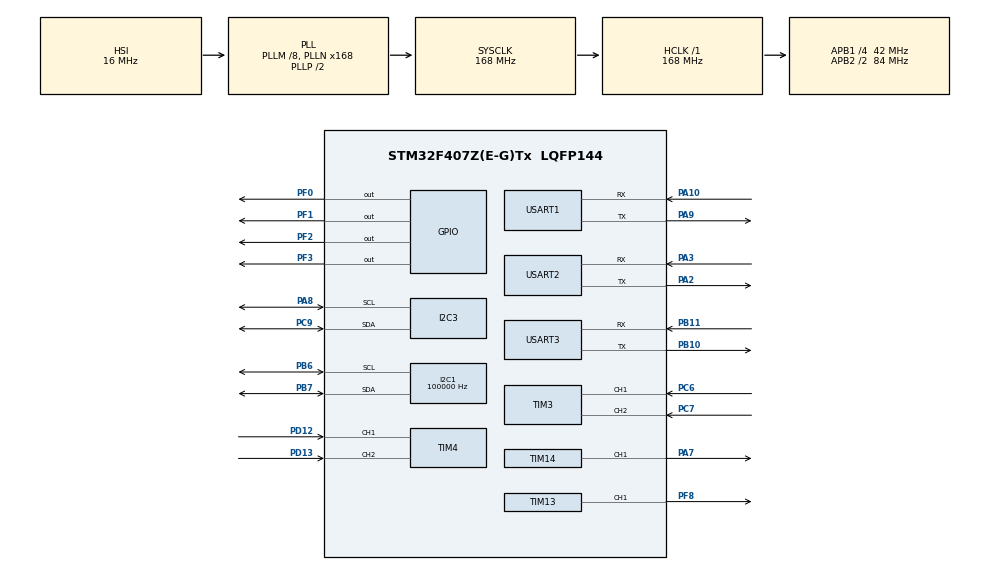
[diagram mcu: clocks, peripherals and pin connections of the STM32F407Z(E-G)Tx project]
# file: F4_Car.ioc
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FREERTOS.Tasks01=defaultTask,0,128,StartDefaultTask,Default,NULL,Dynamic,NULL,NULL;myTask02,-3,256,StartTask02,Default,NULL,Dynamic,NULL,NULL;myTask03,-3,256,StartTask03,Default,NULL,Dynamic,NULL,NULL
I2C1.ClockSpeed=100000
Mcu.Family=STM32F4
Mcu.Name=STM32F407Z(E-G)Tx
Mcu.Package=LQFP144
NVIC.PriorityGroup=NVIC_PRIORITYGROUP_4
NVIC.TIM6_DAC_IRQn=true\:5\:0\:true\:false\:true\:true\:true\:true\:true
NVIC.TIM7_IRQn=true\:7\:0\:true\:false\:true\:true\:true\:true\:true
NVIC.USART2_IRQn=true\:6\:0\:true\:false\:true\:true\:true\:true\:true
NVIC.USART3_IRQn=true\:6\:0\:true\:false\:true\:true\:true\:true\:true
PA10.Mode=Asynchronous
PA10.Signal=USART1_RX
PA2.Mode=Asynchronous
PA2.Signal=USART2_TX
PA3.Mode=Asynchronous
PA3.Signal=USART2_RX
PA7.Signal=S_TIM14_CH1
PA8.Mode=I2C
PA8.Signal=I2C3_SCL
PA9.Mode=Asynchronous
PA9.Signal=USART1_TX
PB10.Mode=Asynchronous
PB10.Signal=USART3_TX
PB11.Mode=Asynchronous
PB11.Signal=USART3_RX
PB6.Mode=I2C
PB6.Signal=I2C1_SCL
PB7.Mode=I2C
PB7.Signal=I2C1_SDA
PC6.Signal=S_TIM3_CH1
PC7.Signal=S_TIM3_CH2
PC9.Mode=I2C
PC9.Signal=I2C3_SDA
PD12.Signal=S_TIM4_CH1
PD13.Signal=S_TIM4_CH2
PF0.GPIO_PuPd=GPIO_PULLDOWN
PF0.GPIO_Speed=GPIO_SPEED_FREQ_MEDIUM
PF0.Signal=GPIO_Output
PF1.GPIO_PuPd=GPIO_PULLDOWN
PF1.GPIO_Speed=GPIO_SPEED_FREQ_MEDIUM
PF1.Signal=GPIO_Output
PF2.GPIO_PuPd=GPIO_PULLDOWN
PF2.GPIO_Speed=GPIO_SPEED_FREQ_MEDIUM
PF2.Signal=GPIO_Output
PF3.GPIO_PuPd=GPIO_PULLDOWN
PF3.GPIO_Speed=GPIO_SPEED_FREQ_MEDIUM
PF3.Signal=GPIO_Output
PF8.Signal=S_TIM13_CH1
PH0-OSC_IN.Mode=HSE-External-Oscillator
PH0-OSC_IN.Signal=RCC_OSC_IN
PH1-OSC_OUT.Mode=HSE-External-Oscillator
PH1-OSC_OUT.Signal=RCC_OSC_OUT
ProjectManager.HeapSize=0x200
ProjectManager.StackSize=0x400
ProjectManager.TargetToolchain=MDK-ARM V5.32
RCC.48MHZClocksFreq_Value=84000000
RCC.AHBFreq_Value=168000000
RCC.APB1CLKDivider=RCC_HCLK_DIV4
RCC.APB1Freq_Value=42000000
RCC.APB1TimFreq_Value=84000000
RCC.APB2CLKDivider=RCC_HCLK_DIV2
RCC.APB2Freq_Value=84000000
RCC.APB2TimFreq_Value=168000000
RCC.CortexFreq_Value=168000000
RCC.HCLKFreq_Value=168000000
RCC.HSE_VALUE=25000000
RCC.HSI_VALUE=16000000
RCC.LSE_VALUE=32768
RCC.PLLM=8
RCC.PLLN=168
RCC.SYSCLKFreq_VALUE=168000000
RCC.SYSCLKSource=RCC_SYSCLKSOURCE_PLLCLK
RCC.VCOOutputFreq_Value=336000000
SH.S_TIM13_CH1.0=TIM13_CH1,PWM Generation1 CH1
SH.S_TIM14_CH1.0=TIM14_CH1,PWM Generation1 CH1
SH.S_TIM3_CH1.0=TIM3_CH1,Encoder_Interface
SH.S_TIM3_CH2.0=TIM3_CH2,Encoder_Interface
SH.S_TIM4_CH1.0=TIM4_CH1,Encoder_Interface
SH.S_TIM4_CH2.0=TIM4_CH2,Encoder_Interface
TIM13.Channel=TIM_CHANNEL_1
TIM13.Period=2000-1
TIM13.Prescaler=4-1
TIM14.Channel=TIM_CHANNEL_1
TIM14.Period=2000-1
TIM14.Prescaler=4-1
TIM3.ClockDivision=TIM_CLOCKDIVISION_DIV4
TIM3.EncoderMode=TIM_ENCODERMODE_TI12
TIM3.IC1Filter=0
TIM3.IC2Filter=0
TIM4.EncoderMode=TIM_ENCODERMODE_TI12
TIM4.IC1Filter=0
TIM4.IC2Filter=0
TIM6.AutoReloadPreload=TIM_AUTORELOAD_PRELOAD_DISABLE
TIM6.Period=10000-1
TIM6.Prescaler=8400-1
TIM7.Period=200-1
TIM7.Prescaler=8400-1
USART1.VirtualMode=VM_ASYNC
USART2.VirtualMode=VM_ASYNC
USART3.VirtualMode=VM_ASYNC
VP_FREERTOS_VS_CMSIS_V1.Mode=CMSIS_V1
VP_TIM13_VS_ClockSourceINT.Mode=Enable_Timer
VP_TIM14_VS_ClockSourceINT.Mode=Enable_Timer
VP_TIM6_VS_ClockSourceINT.Mode=Enable_Timer
VP_TIM7_VS_ClockSourceINT.Mode=Enable_Timer
board=custom

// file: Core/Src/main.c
/* USER CODE BEGIN Header */
/**
  ******************************************************************************
  * @file           : main.c
  * @brief          : Main program body
  ******************************************************************************
  * @attention
  *
  * Copyright (c) 2022 STMicroelectronics.
  * All rights reserved.
  *
  * This software is licensed under terms that can be found in the LICENSE file
  * in the root directory of this software component.
  * If no LICENSE file comes with this software, it is provided AS-IS.
  *
  ******************************************************************************
  */
/* USER CODE END Header */
#include "main.h"
#include "cmsis_os.h"
#include "i2c.h"
#include "tim.h"
#include "usart.h"
#include "gpio.h"

/* USER CODE BEGIN Includes */
#include "mpu6050.h"
#include "inv_mpu.h"
#include "pid.h"
#include "control.h"
#include "encoder.h"
/* USER CODE END Includes */

/* USER CODE BEGIN PTD */

extern int  PWM_L, PWM_R;
extern long EncoderData_L,EncoderData_L;
extern _pid pid_speed_L, pid_speed_R;
extern _pid pid_location_L, pid_location_R;
/* USER CODE END PTD */

void SystemClock_Config(void);
void MX_FREERTOS_Init(void);

/* USER CODE BEGIN 0 */

void HAL_TIM_PeriodElapsedCallback(TIM_HandleTypeDef *htim)
	{
		if(htim->Instance == TIM6)//1s一次中断
		{
//				USART2Printf("PWM_R:%d\r\n",PWM_R);
//			printf("TIM6:1s\r\n");
//			mpu_dmp_get_data(&pitch,&roll,&yaw);
//			printf("pitch:%.2f,roll:%.2f,yaw:%.2f",pitch,roll,yaw);
		}
		if(htim->Instance == TIM7)//20毫秒一次中断，用于pid调节
		{

			Read_Encoder();		//读取两个编码器的值

//			PWM_L = speed_pid_L_control();		//速度环控制
//			PWM_R = speed_pid_R_control();		//速度环控制
//			Set_PWM_L(PWM_L);									//设置Left_PWM
//			Set_PWM_R(PWM_R);									//设置Right_PWM
//			USART2Printf("PWM_L:%d\r\n",PWM_L);

			Location_Speed_control();
			Set_PWM_L(PWM_L);									//设置Left_PWM
			Set_PWM_R(PWM_R);									//设置Right_PWM
		}
}

/* USER CODE END 0 */

int main(void)
{

  /* MCU Configuration--------------------------------------------------------*/

  /* Reset of all peripherals, Initializes the Flash interface and the Systick. */
  HAL_Init();

  /* Configure the system clock */
  SystemClock_Config();

  /* Initialize all configured peripherals */
  MX_GPIO_Init();
  MX_I2C1_Init();
  MX_TIM3_Init();
  MX_TIM4_Init();
  MX_TIM6_Init();
  MX_TIM7_Init();
  MX_USART1_UART_Init();
  MX_USART2_UART_Init();
  MX_I2C3_Init();
  MX_TIM13_Init();
  MX_TIM14_Init();
  MX_USART3_UART_Init();
  /* USER CODE BEGIN 2 */

//	MPU_Init();
//	HAL_Delay(50);
//	while(mpu_dmp_init()){
////		printf("mpu6050 error code:%d\r\n",mpu_dmp_init());
//		HAL_Delay(500);
//	}
//	printf("mpu6050 success!\r\n");

	HAL_TIM_Base_Start_IT(&htim6);//开启定时器6中断
	HAL_TIM_Base_Start_IT(&htim7);//开启定时器7中断

	PID_param_init();
	//上位机调参
//	__HAL_UART_ENABLE_IT(&huart1,UART_IT_RXNE);    //串口1接收中断，只开启接收中断，与上位机通信
//	protocol_init();       //这个初始化了才能通过上位机控制呀, 再看这个注意事项

  /* USER CODE END 2 */

  /* Call init function for freertos objects (in freertos.c) */
  MX_FREERTOS_Init();

  /* Start scheduler */
  osKernelStart();

  /* We should never get here as control is now taken by the scheduler */
  /* Infinite loop */
  while (1)
  {

  }
}

void SystemClock_Config(void)
{
  RCC_OscInitTypeDef RCC_OscInitStruct = {0};
  RCC_ClkInitTypeDef RCC_ClkInitStruct = {0};

  /** Configure the main internal regulator output voltage
  */
  __HAL_RCC_PWR_CLK_ENABLE();
  __HAL_PWR_VOLTAGESCALING_CONFIG(PWR_REGULATOR_VOLTAGE_SCALE1);

  /** Initializes the RCC Oscillators according to the specified parameters
  * in the RCC_OscInitTypeDef structure.
  */
  RCC_OscInitStruct.OscillatorType = RCC_OSCILLATORTYPE_HSI;
  RCC_OscInitStruct.HSIState = RCC_HSI_ON;
  RCC_OscInitStruct.HSICalibrationValue = RCC_HSICALIBRATION_DEFAULT;
  RCC_OscInitStruct.PLL.PLLState = RCC_PLL_ON;
  RCC_OscInitStruct.PLL.PLLSource = RCC_PLLSOURCE_HSI;
  RCC_OscInitStruct.PLL.PLLM = 8;
  RCC_OscInitStruct.PLL.PLLN = 168;
  RCC_OscInitStruct.PLL.PLLP = RCC_PLLP_DIV2;
  RCC_OscInitStruct.PLL.PLLQ = 4;
  if (HAL_RCC_OscConfig(&RCC_OscInitStruct) != HAL_OK)
  {
    Error_Handler();
  }

  /** Initializes the CPU, AHB and APB buses clocks
  */
  RCC_ClkInitStruct.ClockType = RCC_CLOCKTYPE_HCLK|RCC_CLOCKTYPE_SYSCLK
                              |RCC_CLOCKTYPE_PCLK1|RCC_CLOCKTYPE_PCLK2;
  RCC_ClkInitStruct.SYSCLKSource = RCC_SYSCLKSOURCE_PLLCLK;
  RCC_ClkInitStruct.AHBCLKDivider = RCC_SYSCLK_DIV1;
  RCC_ClkInitStruct.APB1CLKDivider = RCC_HCLK_DIV4;
  RCC_ClkInitStruct.APB2CLKDivider = RCC_HCLK_DIV2;

  if (HAL_RCC_ClockConfig(&RCC_ClkInitStruct, FLASH_LATENCY_5) != HAL_OK)
  {
    Error_Handler();
  }
}

/* USER CODE BEGIN 4 */
/**
 * @brief		重定向printf函数到串口
 * fputc
 */
int fputc(int ch, FILE * f)
{
//	HAL_UART_Transmit(&huart1,(uint8_t *)&ch,1,0xffff);//发送串口
////	while (USART_GetFlagStatus(USART1, USART_FLAG_TC) == RESET);
//	return ch;

    //具体哪个串口可以更改USART1为其它串口
    while ((USART1->SR & 0X40) == 0); //循环发送,直到发送完毕
    USART1->DR = (uint8_t) ch;
    return ch;
}
/* USER CODE END 4 */

void Error_Handler(void)
{
  __disable_irq();
  while (1)
  {
  }
}

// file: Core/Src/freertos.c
/* USER CODE BEGIN Header */
/**
  ******************************************************************************
  * File Name          : freertos.c
  * Description        : Code for freertos applications
  ******************************************************************************
  * @attention
  *
  * Copyright (c) 2022 STMicroelectronics.
  * All rights reserved.
  *
  * This software is licensed under terms that can be found in the LICENSE file
  * in the root directory of this software component.
  * If no LICENSE file comes with this software, it is provided AS-IS.
  *
  ******************************************************************************
  */
/* USER CODE END Header */

#include "FreeRTOS.h"
#include "task.h"
#include "main.h"
#include "cmsis_os.h"

/* USER CODE BEGIN Includes */
#include "usart.h"
#include "mpu6050.h"
#include "inv_mpu.h"
#include "tim.h"
#include "pid.h"
#include "control.h"
#include "encoder.h"
/* USER CODE END Includes */

/* USER CODE BEGIN PTD */
uint8_t  ESP32_Buffer[255];

extern uint8_t USART2_flag;
extern uint8_t  USART2_Buffer[255];//收到的数据存放处
extern uint8_t USART3_flag;
extern uint8_t  USART3_Buffer[255];//收到的数据存放处

extern char one[5],two[5],three[5],four[5],five[5],six[5];
extern char one_k210[5],two_k210[5],three_k210[5];

extern int  PWM_L, PWM_R;
extern long EncoderData_L,EncoderData_L;
extern int Direction_L,Direction_R;
extern _pid pid_speed_L, pid_speed_R;
extern _pid pid_location_L, pid_location_R;
/* USER CODE END PTD */

/* USER CODE BEGIN Variables */
float pitch,roll,yaw;//data of MPU6050
uint8_t mpu_res;//Get callback data of MPU6050.If it is 0,geting datas of MPU6050 is successful!

/* USER CODE END Variables */
osThreadId defaultTaskHandle;
osThreadId myTask02Handle;
osThreadId myTask03Handle;

void StartDefaultTask(void const * argument);
void StartTask02(void const * argument);
void StartTask03(void const * argument);

void MX_FREERTOS_Init(void); /* (MISRA C 2004 rule 8.1) */

/* GetIdleTaskMemory prototype (linked to static allocation support) */
void vApplicationGetIdleTaskMemory( StaticTask_t **ppxIdleTaskTCBBuffer, StackType_t **ppxIdleTaskStackBuffer, uint32_t *pulIdleTaskStackSize );

/* USER CODE BEGIN GET_IDLE_TASK_MEMORY */
static StaticTask_t xIdleTaskTCBBuffer;
static StackType_t xIdleStack[configMINIMAL_STACK_SIZE];

void vApplicationGetIdleTaskMemory( StaticTask_t **ppxIdleTaskTCBBuffer, StackType_t **ppxIdleTaskStackBuffer, uint32_t *pulIdleTaskStackSize )
{
  *ppxIdleTaskTCBBuffer = &xIdleTaskTCBBuffer;
  *ppxIdleTaskStackBuffer = &xIdleStack[0];
  *pulIdleTaskStackSize = configMINIMAL_STACK_SIZE;
  /* place for user code */
}
/* USER CODE END GET_IDLE_TASK_MEMORY */

void MX_FREERTOS_Init(void) {

  /* Create the thread(s) */
  /* definition and creation of defaultTask */
  osThreadDef(defaultTask, StartDefaultTask, osPriorityNormal, 0, 128);
  defaultTaskHandle = osThreadCreate(osThread(defaultTask), NULL);

  /* definition and creation of myTask02 */
  osThreadDef(myTask02, StartTask02, osPriorityIdle, 0, 256);
  myTask02Handle = osThreadCreate(osThread(myTask02), NULL);

  /* definition and creation of myTask03 */
  osThreadDef(myTask03, StartTask03, osPriorityIdle, 0, 256);
  myTask03Handle = osThreadCreate(osThread(myTask03), NULL);

}

void StartDefaultTask(void const * argument)
{
  /* USER CODE BEGIN StartDefaultTask */
		//	Set_Motor_L_Forward();
	HAL_TIM_Encoder_Start(&htim3, TIM_CHANNEL_ALL);	//open left encoder
	HAL_TIM_Encoder_Start(&htim4, TIM_CHANNEL_ALL);	//open right encoder
	HAL_TIM_PWM_Start(&htim13,TIM_CHANNEL_1);	//output left pwm
	HAL_TIM_PWM_Start(&htim14,TIM_CHANNEL_1);	//output right pwm
//	HAL_GPIO_WritePin(GPIOF,GPIO_PIN_0|GPIO_PIN_2,GPIO_PIN_SET);
//	HAL_GPIO_WritePin(GPIOF,GPIO_PIN_1|GPIO_PIN_3,GPIO_PIN_RESET);
//	__HAL_TIM_SetCompare(&htim13, TIM_CHANNEL_1, 0);//set right pwm
//	__HAL_TIM_SetCompare(&htim14, TIM_CHANNEL_1, 0);//set right pwm

  /* Infinite loop */
  for(;;)
  {

//		receiving_process();   //解析野火上位机通信协议,调试电机位置速度串级PID时用

    osDelay(5);
  }
  /* USER CODE END StartDefaultTask */
}

void StartTask02(void const * argument)
{
  /* USER CODE BEGIN StartTask02 */
  /* Infinite loop */
  for(;;)
  {
		osDelay(100);
//		mpu_res = mpu_dmp_get_data(&pitch,&roll,&yaw);//If mpu_res is 0,geting datas of MPU6050 is successful!
//		if(!mpu_res){
////			printf("read mpu6050 success!\r\n");
////			printf("角度：%.2f\t    %.2f\t   %.2f\r\n",pitch,roll,yaw);
//		}
  }
  /* USER CODE END StartTask02 */
}

void StartTask03(void const * argument)
{
  /* USER CODE BEGIN StartTask03 */
  /* Infinite loop */
  for(;;)
  {
		if(USART2_flag == 1){
//			printf("recive buff is %s\r\n",ESP32_Buffer);
			json_Parse((char *)&ESP32_Buffer);
//			printf("one:%s\r\n",one);
//			printf("one:%.2f\r\n",atof(one));
			set_pid_target(&pid_location_L,calculation_pulse(atof(one)));
			set_pid_target(&pid_location_R,calculation_pulse(atof(two)));
			USART2_flag = 0;
//			memset(USART2_Buffer,0x00,255);
		}
		if(USART3_flag == 1){
			printf("recive buff is %s\r\n",USART3_Buffer);
//			json_Parse_K210((char *)&USART3_Buffer);
//			printf("one_k210:%s\r\n",one_k210);
			USART3_flag = 0;
			memset(USART3_Buffer,0x00,255);
		}
    osDelay(2);
  }
  /* USER CODE END StartTask03 */
}
